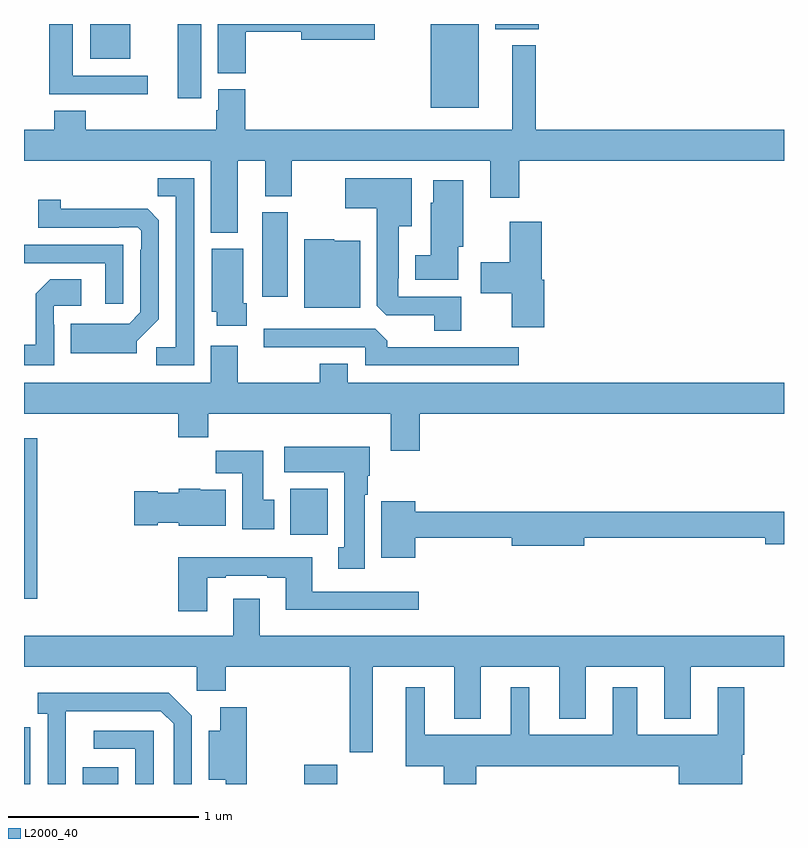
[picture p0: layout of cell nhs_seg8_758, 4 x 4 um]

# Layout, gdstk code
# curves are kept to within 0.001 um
import gdstk
lib = gdstk.Library(unit=1e-6, precision=1e-09)
def R(c, l, rs):  # rectangles x0, y0, x1, y1
    for r in rs: c.add(gdstk.rectangle(r[:2], r[2:], *l))
def P(c, l, *ps):  # polygons
    for p in ps: c.add(gdstk.Polygon(p, *l))
L2000_40 = (2000, 40)

nhs_seg8_758 = lib.new_cell('nhs_seg8_758')
R(nhs_seg8_758, L2000_40, [(161.309,1099.9,161.497,1099.987), (162.475,1099.9,162.648,1100.002), (161,1100.874,161.069,1101.721), (162.401,1101.212,162.598,1101.454), (162.254,1102.464,162.388,1102.908), (163.142,1103.459,163.393,1103.9), (161.81,1103.508,161.932,1103.9), (161.348,1103.717,161.56,1103.9), (163.481,1103.873,163.708,1103.9)])
P(nhs_seg8_758, L2000_40, [(161.65,1103.628),(161.257,1103.628),(161.257,1103.9),(161.132,1103.9),(161.132,1103.531),(161.65,1103.531)],
  [(162.167,1103.86),(162.458,1103.86),(162.458,1103.818),(162.847,1103.818),(162.847,1103.9),(162.02,1103.9),(162.02,1103.641),(162.167,1103.641)],
  [(162.124,1103.18),(162.269,1103.18),(162.269,1102.993),(162.409,1102.993),(162.409,1103.18),(163.454,1103.18),(163.454,1102.986),(163.607,1102.986),(163.607,1103.18),(165,1103.18),(165,1103.344),(163.693,1103.344),(163.693,1103.788),(163.571,1103.788),(163.571,1103.344),(162.164,1103.344),(162.164,1103.556),(162.023,1103.556),(162.023,1103.445),(162.011,1103.445),(162.011,1103.344),(161.324,1103.344),(161.324,1103.443),(161.159,1103.443),(161.159,1103.344),(161,1103.344),(161,1103.18),(161.984,1103.18),(161.984,1102.802),(162.124,1102.802)],
  [(163.3,1102.464),(162.969,1102.464),(162.969,1102.561),(162.973,1102.561),(162.973,1102.835),(163.042,1102.835),(163.042,1103.089),(162.69,1103.089),(162.69,1102.931),(162.857,1102.931),(162.857,1102.417),(162.906,1102.368),(163.16,1102.368),(163.16,1102.285),(163.3,1102.285)],
  [(161.895,1103.088),(161.704,1103.088),(161.704,1102.993),(161.799,1102.993),(161.799,1102.2),(161.697,1102.2),(161.697,1102.104),(161.895,1102.104)],
  [(163.285,1102.728),(163.312,1102.728),(163.312,1103.077),(163.154,1103.077),(163.154,1102.959),(163.142,1102.959),(163.142,1102.684),(163.058,1102.684),(163.058,1102.553),(163.285,1102.553)],
  [(161.593,1102.23),(161.709,1102.346),(161.709,1102.868),(161.65,1102.927),(161.193,1102.928),(161.193,1102.975),(161.074,1102.975),(161.074,1102.827),(161.498,1102.827),(161.498,1102.83),(161.598,1102.83),(161.616,1102.812),(161.616,1102.712),(161.613,1102.712),(161.613,1102.383),(161.553,1102.323),(161.245,1102.323),(161.245,1102.166),(161.593,1102.166)],
  [(163.739,1102.553),(163.724,1102.553),(163.724,1102.858),(163.556,1102.858),(163.556,1102.647),(163.404,1102.647),(163.404,1102.484),(163.568,1102.484),(163.568,1102.305),(163.739,1102.305)],
  [(162.769,1102.759),(162.633,1102.759),(162.633,1102.768),(162.476,1102.768),(162.476,1102.406),(162.769,1102.406)],
  [(161.523,1102.737),(161,1102.737),(161,1102.641),(161.427,1102.641),(161.427,1102.428),(161.523,1102.428)],
  [(162.172,1102.431),(162.154,1102.431),(162.154,1102.717),(161.987,1102.717),(161.987,1102.386),(162.014,1102.386),(162.014,1102.313),(162.172,1102.313)],
  [(161.16,1102.316),(161.157,1102.316),(161.157,1102.416),(161.302,1102.416),(161.302,1102.556),(161.137,1102.556),(161.061,1102.48),(161.061,1102.213),(161,1102.213),(161,1102.104),(161.16,1102.104)],
  [(163.603,1102.2),(162.911,1102.2),(162.911,1102.234),(162.849,1102.296),(162.261,1102.296),(162.261,1102.2),(162.795,1102.2),(162.795,1102.104),(163.603,1102.104)],
  [(163.082,1101.848),(165,1101.848),(165,1102.012),(162.703,1102.012),(162.703,1102.111),(162.556,1102.111),(162.556,1102.012),(162.124,1102.012),(162.124,1102.207),(161.984,1102.207),(161.984,1102.012),(161,1102.012),(161,1101.848),(161.813,1101.848),(161.813,1101.724),(161.969,1101.724),(161.969,1101.848),(162.929,1101.848),(162.929,1101.654),(163.082,1101.654)],
  [(162.793,1101.422),(162.808,1101.422),(162.808,1101.522),(162.82,1101.522),(162.82,1101.676),(162.369,1101.676),(162.369,1101.542),(162.686,1101.542),(162.686,1101.146),(162.653,1101.146),(162.653,1101.033),(162.793,1101.033)],
  [(162.316,1101.396),(162.259,1101.396),(162.259,1101.655),(162.01,1101.655),(162.01,1101.536),(162.149,1101.536),(162.149,1101.24),(162.316,1101.24)],
  [(162.061,1101.448),(161.928,1101.448),(161.928,1101.454),(161.814,1101.454),(161.814,1101.433),(161.703,1101.433),(161.703,1101.441),(161.58,1101.441),(161.58,1101.263),(161.703,1101.263),(161.703,1101.275),(161.814,1101.275),(161.814,1101.26),(162.061,1101.26)],
  [(163.06,1101.196),(163.568,1101.196),(163.568,1101.154),(163.948,1101.154),(163.948,1101.196),(164.9,1101.196),(164.9,1101.161),(165,1101.161),(165,1101.332),(163.06,1101.332),(163.06,1101.388),(162.881,1101.388),(162.881,1101.092),(163.06,1101.092)],
  [(161.965,1100.985),(162.061,1100.985),(162.061,1100.997),(162.281,1100.997),(162.281,1100.985),(162.377,1100.985),(162.377,1100.816),(163.078,1100.816),(163.078,1100.913),(162.517,1100.913),(162.517,1101.094),(161.813,1101.094),(161.813,1100.808),(161.965,1100.808)],
  [(162.835,1100.516),(163.265,1100.516),(163.265,1100.243),(163.405,1100.243),(163.405,1100.516),(163.817,1100.516),(163.817,1100.243),(163.957,1100.243),(163.957,1100.516),(164.369,1100.516),(164.369,1100.243),(164.509,1100.243),(164.509,1100.516),(165,1100.516),(165,1100.68),(162.241,1100.68),(162.241,1100.875),(162.101,1100.875),(162.101,1100.68),(161,1100.68),(161,1100.516),(161.91,1100.516),(161.91,1100.39),(162.062,1100.39),(162.062,1100.516),(162.714,1100.516),(162.714,1100.067),(162.835,1100.067)],
  [(163.379,1099.994),(164.447,1099.994),(164.447,1099.9),(164.779,1099.9),(164.779,1100.054),(164.792,1100.054),(164.792,1100.41),(164.651,1100.41),(164.651,1100.158),(164.227,1100.158),(164.227,1100.41),(164.099,1100.41),(164.099,1100.158),(163.66,1100.158),(163.66,1100.41),(163.562,1100.41),(163.562,1100.158),(163.108,1100.158),(163.108,1100.41),(163.01,1100.41),(163.01,1099.994),(163.208,1099.994),(163.208,1099.9),(163.379,1099.9)],
  [(161.22,1100.083),(161.221,1100.283),(161.721,1100.283),(161.787,1100.217),(161.787,1099.9),(161.883,1099.9),(161.883,1100.259),(161.762,1100.38),(161.073,1100.38),(161.073,1100.27),(161.124,1100.27),(161.124,1099.9),(161.22,1099.9)],
  [(162.172,1100.305),(162.032,1100.305),(162.032,1100.179),(161.972,1100.179),(161.972,1099.922),(162.062,1099.922),(162.062,1099.9),(162.172,1099.9)],
  [(161.034,1100.09),(161.033,1100.09),(161.033,1100.199),(161,1100.199),(161,1099.9),(161.034,1099.9)],
  [(161.682,1100.181),(161.367,1100.181),(161.367,1100.085),(161.586,1100.085),(161.586,1099.9),(161.682,1099.9)])

lib.write_gds('nhs_seg8_758.gds')
